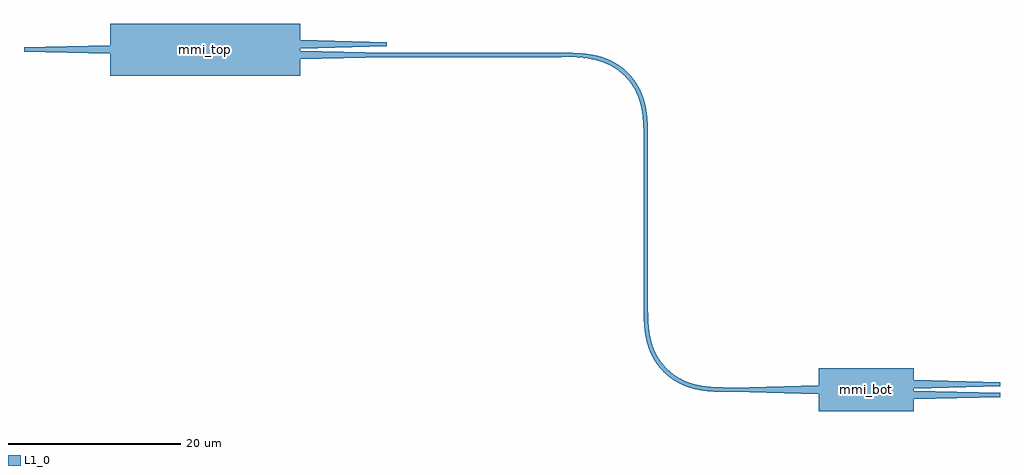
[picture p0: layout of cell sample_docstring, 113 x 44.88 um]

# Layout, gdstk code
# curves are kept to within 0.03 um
from math import pi, radians
import gdstk
lib = gdstk.Library(unit=1e-6, precision=1e-09)
def R(c, l, rs):  # rectangles x0, y0, x1, y1
    for r in rs: c.add(gdstk.rectangle(r[:2], r[2:], *l))
def P(c, l, *ps):  # polygons
    for p in ps: c.add(gdstk.Polygon(p, *l))
L1_0 = (1, 0)

mmi1x2_52b0d64a = lib.new_cell('mmi1x2_52b0d64a')
R(mmi1x2_52b0d64a, L1_0, [(-5.5,-2.5,5.5,2.5)])
P(mmi1x2_52b0d64a, L1_0, [(-15.5,0.25),(-5.5,0.5),(-5.5,-0.5),(-15.5,-0.25)],
  [(15.5,0.375),(5.5,0.125),(5.5,1.125),(15.5,0.875)],
  [(15.5,-0.875),(5.5,-1.125),(5.5,-0.125),(15.5,-0.375)])

mmi1x2_28584457 = lib.new_cell('mmi1x2_28584457')
R(mmi1x2_28584457, L1_0, [(-11,-3,11,3)])
P(mmi1x2_28584457, L1_0, [(-21,0.25),(-11,0.5),(-11,-0.5),(-21,-0.25)],
  [(21,0.375),(11,0.125),(11,1.125),(21,0.875)],
  [(21,-0.875),(11,-1.125),(11,-0.125),(21,-0.375)])

bend_euler = lib.new_cell('bend_euler')
P(bend_euler, L1_0, [(0,-0.25),(1.498,-0.236),(2.724,-0.165),(3.761,-0.026),(4.739,0.201),(5.691,0.544),(6.428,0.918),(7.158,1.402),(7.859,2.003),(8.479,2.689),(9.033,3.488),(9.456,4.309),(9.799,5.261),(10.026,6.239),(10.165,7.276),(10.236,8.502),(10.25,10),(9.75,10),(9.727,8.239),(9.634,7.004),(9.463,5.971),(9.18,4.971),(8.884,4.263),(8.508,3.59),(8.088,3),(7.575,2.425),(7,1.912),(6.41,1.492),(5.737,1.116),(5.029,0.82),(4.029,0.537),(2.996,0.366),(1.761,0.273),(0,0.25)])

straight_775184d2 = lib.new_cell('straight_775184d2')
R(straight_775184d2, L1_0, [(0,-0.25,19.99,0.25)])

straight_720ba455 = lib.new_cell('straight_720ba455')
R(straight_720ba455, L1_0, [(0,-0.25,18.75,0.25)])

straight_c49ce9c6 = lib.new_cell('straight_c49ce9c6')
R(straight_c49ce9c6, L1_0, [(0,-0.25,0.01,0.25)])

sample_docstring = lib.new_cell('sample_docstring')
sample_docstring.add(gdstk.Reference(mmi1x2_52b0d64a, (97.5,-39.375)))
sample_docstring.add(gdstk.Reference(mmi1x2_28584457, (21,0)))
sample_docstring.add(gdstk.Reference(bend_euler, (61.99,-0.625), x_reflection=True))
sample_docstring.add(gdstk.Reference(bend_euler, (71.99,-29.375), rotation=3*pi/2))
sample_docstring.add(gdstk.Reference(straight_775184d2, (42,-0.625)))
sample_docstring.add(gdstk.Reference(straight_720ba455, (71.99,-10.625), rotation=3*pi/2))
sample_docstring.add(gdstk.Reference(straight_c49ce9c6, (81.99,-39.375)))
sample_docstring.add(gdstk.Label('mmi_bot', (97.5,-39.375), layer=206, texttype=0))
sample_docstring.add(gdstk.Label('mmi_top', (21,0), layer=206, texttype=0))

lib.write_gds('sample_docstring.gds')
